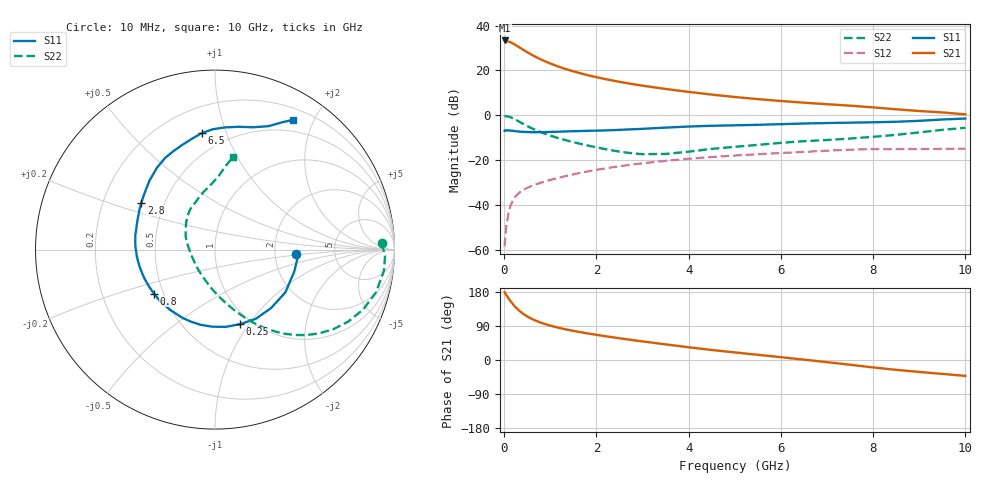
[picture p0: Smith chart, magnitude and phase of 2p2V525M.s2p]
! (c) 2009  Infineon Technologies AG, Munich
! Infineon Technologies  Discrete & RF Semiconductors
! BFP420
! VCE =  2.5 V,  IC =  25 mA
! Common Emitter S-Parameters:  Nov 2009
# GHz  S  MA  R  50
!  f  S11  S21  S12  S22
! GHz  MAG  ANG  MAG  ANG  MAG  ANG  MAG  ANG
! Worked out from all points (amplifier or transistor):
!   46 points, 10 MHz to 10 GHz, reference 50 ohm
!   highest |S21| = 33.4 dB at 10 MHz (marker M1)
!   |S21| within 3 dB of that: start of sweep to 324.4 MHz
!   unconditionally stable (mu >= 1): 1.662 GHz to end of sweep
!   at 300 MHz: K = 0.36, MSG = 32.9 dB, |S12| = -35.1 dB
!   at 1.7 GHz: K = 1.01, MAG = 21.5 dB, |S12| = -25.5 dB
!   at 10 GHz: K = 1.06, MAG = 6.1 dB, |S12| = -14.9 dB
!   lowest NFmin = 1.38 dB at 900 MHz
!   S11 on the Smith chart (normalised r, x): 10 MHz: 2.62, -0.17; 250 MHz: 0.88, -0.91; 800 MHz: 0.44, -0.26; 2.8 GHz: 0.37, +0.25; 6.5 GHz: 0.36, +0.83; 10 GHz: 0.34, +1.72
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0.01  0.4502 -3.3  46.53 179.2  0.0012 105.6  0.9307 2.1
0.02  0.4616 -6.4  45.42 176.2  0.0017 90.4  0.9482 -2.2
0.05  0.4585 -15.5  44.99 170.7  0.0035 85.8  0.9487 -7.1
0.1  0.4588 -31.3  43.84 161.8  0.0071 79.2  0.9283 -14.9
0.15  0.4514 -46.1  41.76 153.4  0.0103 74.6  0.8904 -22.0
0.2  0.4476 -59.4  39.34 145.9  0.013 70.6  0.8437 -28.4
0.25  0.4383 -71.6  36.63 139.0  0.0155 66.9  0.794 -34.0
0.3  0.4346 -82.5  34.15 133.0  0.0176 64.4  0.7437 -38.9
0.4  0.4266 -100.7  29.46 123.0  0.0211 60.4  0.6515 -46.9
0.5  0.4213 -115.2  25.49 115.0  0.024 58.2  0.5739 -53.1
0.6  0.419 -126.9  22.27 108.4  0.0266 56.8  0.5107 -58.2
0.8  0.4195 -144.3  17.49 98.4  0.0313 55.7  0.4171 -66.0
1  0.4243 -157.1  14.25 90.8  0.036 55.4  0.3516 -72.6
1.2  0.4303 -166.8  11.93 84.5  0.0407 55.2  0.3034 -78.7
1.7  0.4459 175.0  8.379 72.5  0.053 53.6  0.2241 -93.3
2.8  0.4865 147.4  4.919 52.3  0.0799 46.1  0.1408 -135.5
3.5  0.5294 133.8  3.853 41.2  0.096 39.9  0.1369 -169.6
5.5  0.6116 107.2  2.286 13.7  0.1348 21.5  0.2184 137.4
6.5  0.6537 96.4  1.905 0.9  0.1524 12.3  0.2636 121.7
7  0.6703 91.2  1.761 -5.7  0.1616 7.5  0.2801 114.1
8.5  0.7148 72.5  1.357 -26.0  0.1757 -9.5  0.3648 93.2
10  0.8443 58.9  1.046 -41.9  0.1791 -20.8  0.523 79.1
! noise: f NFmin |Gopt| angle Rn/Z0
0.9  1.38  0.22  -154  0.13
1.8  1.65  0.29  -143  0.13
2.4  1.81  0.26  -138  0.17
3  1.83  0.34  -129  0.18
4  1.97  0.45  -112  0.27
5  2.4  0.49  -95  0.44
6  2.85  0.54  -84  0.65
